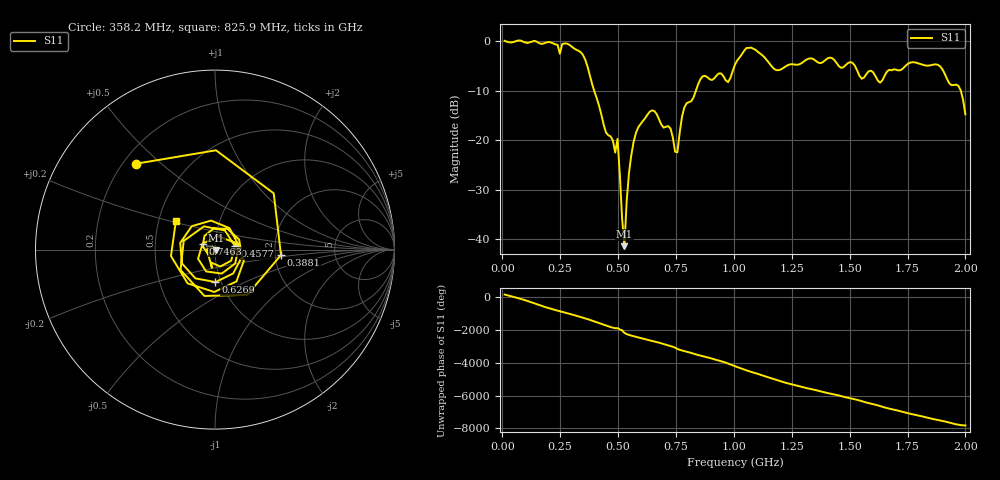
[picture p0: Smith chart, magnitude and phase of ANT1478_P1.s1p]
!Created with skrf (http://scikit-rf.org).
# Hz S RI R 50.0
!freq ReS11 ImS11
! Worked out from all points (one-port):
!   201 points, 10 MHz to 2 GHz, reference 50 ohm
!   lowest |S11| = -41.4 dB at 527.4 MHz (marker M1), VSWR 1.02, Z = 50.7 - j0.435 ohm
!   |S11| at or under -10 dB: 396.9 MHz to 836.2 MHz (439.3 MHz wide, 71.3 % of centre); 1.98 GHz to end of sweep
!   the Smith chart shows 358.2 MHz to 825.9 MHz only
!   S11 on the Smith chart (normalised r, x): 358.2 MHz: 0.25, +0.41; 388.1 MHz: 2.16, -0.15; 457.8 MHz: 1.25, +0.05; 626.9 MHz: 0.94, -0.35; 746.3 MHz: 0.87, +0.06; 825.9 MHz: 0.61, +0.21
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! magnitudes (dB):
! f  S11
! 10 MHz  0.1
! 258.8 MHz  -0.6
! 358.2 MHz  -3.7
! 388.1 MHz  -8.7
! 457.8 MHz  -19.0
! 487.6 MHz  -22.5
! 497.6 MHz  -19.8
! 507.5 MHz  -26.9
! 527.4 MHz  -41.4
! 537.4 MHz  -32.2
! 557.2 MHz  -23.0
! 626.9 MHz  -14.9
! 726.4 MHz  -17.6
! 746.3 MHz  -22.3
! 756.2 MHz  -22.4
! 786.1 MHz  -13.4
! 825.9 MHz  -11.4
! 865.7 MHz  -7.1
! 975.1 MHz  -8.3
! 1.005 GHz  -4.7
! 1.075 GHz  -1.3
! 1.254 GHz  -4.7
! 1.502 GHz  -4.2
! 1.632 GHz  -8.4
! 1.751 GHz  -4.6
! 1.891 GHz  -5.1
! 1.97 GHz  -9.0
! 2 GHz  -14.8
